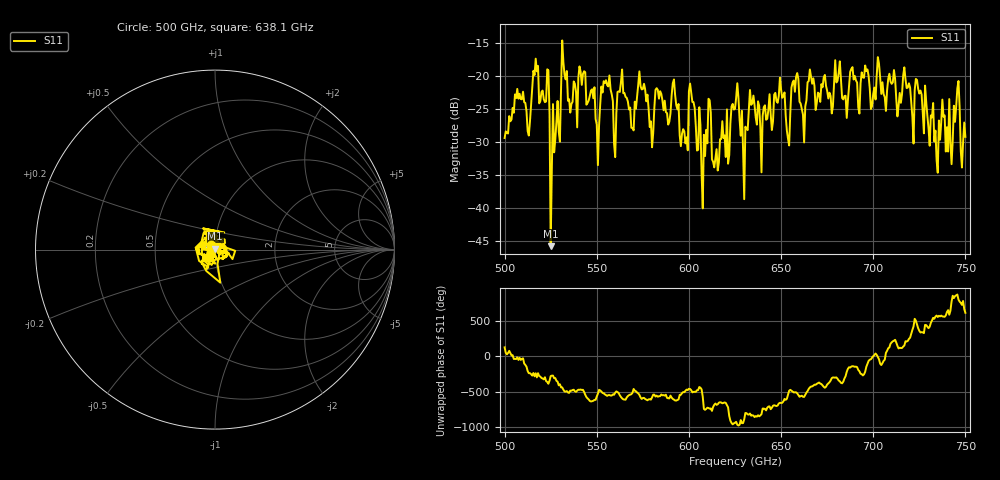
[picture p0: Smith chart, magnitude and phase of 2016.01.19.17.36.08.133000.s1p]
!Created with skrf (http://scikit-rf.org).
# GHz S RI R 50.0
!freq ReS11 ImS11
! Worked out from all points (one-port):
!   401 points, 500 GHz to 750 GHz, reference 50 ohm
!   lowest |S11| = -45.8 dB at 525 GHz (marker M1), VSWR 1.01, Z = 50.1 + j0.505 ohm
!   |S11| at or under -10 dB: start of sweep to end of sweep
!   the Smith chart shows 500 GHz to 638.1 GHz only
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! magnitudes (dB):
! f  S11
! 500 GHz  -29.4
! 506.9 GHz  -21.9
! 513.1 GHz  -29.0
! 516.9 GHz  -17.3
! 523.1 GHz  -19.0
! 525 GHz  -45.8
! 526.2 GHz  -24.2
! 531.2 GHz  -14.6
! 542.5 GHz  -19.7
! 550.6 GHz  -33.5
! 562.5 GHz  -22.4
! 593.8 GHz  -25.1
! 598.1 GHz  -30.2
! 601.2 GHz  -22.5
! 608.1 GHz  -28.9
! 610.6 GHz  -23.4
! 615 GHz  -31.1
! 625 GHz  -25.0
! 630.6 GHz  -27.7
! 633.8 GHz  -24.4
! 650.6 GHz  -23.3
! 653.8 GHz  -29.5
! 656.2 GHz  -21.0
! 687.5 GHz  -19.4
! 718.8 GHz  -21.7
! 734.4 GHz  -32.7
! 745 GHz  -24.7
! 750 GHz  -29.2
